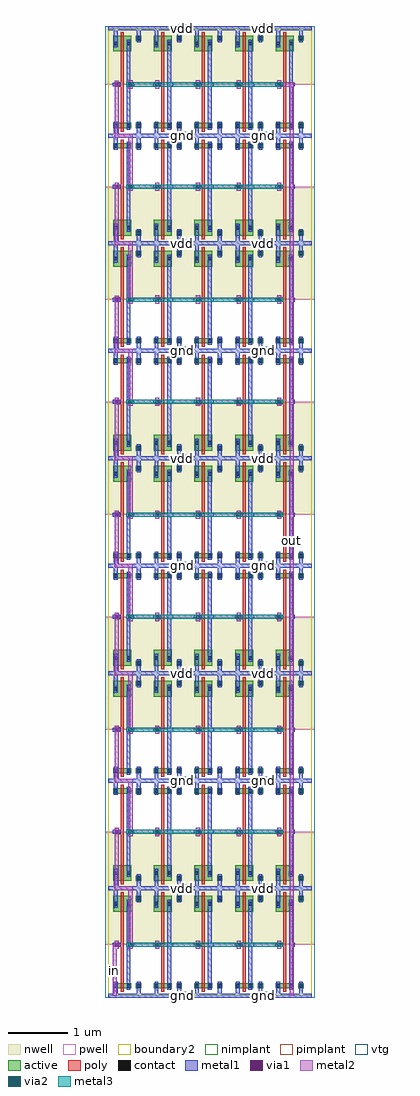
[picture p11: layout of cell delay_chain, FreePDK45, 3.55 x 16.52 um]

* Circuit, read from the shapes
.subckt delay_chain gnd in out vdd
M1 pinv_16_124/A in gnd gnd nfet w=0.09u l=0.05u
M2 pinv_16_117/A pinv_16_124/A gnd gnd nfet w=0.09u l=0.05u
M3 pinv_16_119/A pinv_16_117/A gnd gnd nfet w=0.09u l=0.05u
M4 pinv_16_0/A pinv_16_119/A gnd gnd nfet w=0.09u l=0.05u
M5 pinv_16_1/A pinv_16_0/A gnd gnd nfet w=0.09u l=0.05u
M6 pinv_16_107/A pinv_16_1/A gnd gnd nfet w=0.09u l=0.05u
M7 pinv_16_20/A pinv_16_107/A gnd gnd nfet w=0.09u l=0.05u
M8 pinv_16_16/A pinv_16_20/A gnd gnd nfet w=0.09u l=0.05u
M9 out pinv_16_16/A gnd gnd nfet w=0.09u l=0.05u
M10 pinv_16_189/Z pinv_16_124/A gnd gnd nfet w=0.09u l=0.05u
M11 pinv_16_176/Z pinv_16_117/A gnd gnd nfet w=0.09u l=0.05u
M12 pinv_16_119/Z pinv_16_119/A gnd gnd nfet w=0.09u l=0.05u
M13 pinv_16_162/Z pinv_16_0/A gnd gnd nfet w=0.09u l=0.05u
M14 pinv_16_1/Z pinv_16_1/A gnd gnd nfet w=0.09u l=0.05u
M15 pinv_16_88/Z pinv_16_107/A gnd gnd nfet w=0.09u l=0.05u
M16 pinv_16_20/Z pinv_16_20/A gnd gnd nfet w=0.09u l=0.05u
M17 pinv_16_56/Z pinv_16_16/A gnd gnd nfet w=0.09u l=0.05u
M18 pinv_16_60/Z out gnd gnd nfet w=0.09u l=0.05u
M19 pinv_16_124/Z pinv_16_124/A gnd gnd nfet w=0.09u l=0.05u
M20 pinv_16_117/Z pinv_16_117/A gnd gnd nfet w=0.09u l=0.05u
M21 pinv_16_120/Z pinv_16_119/A gnd gnd nfet w=0.09u l=0.05u
M22 pinv_16_123/Z pinv_16_0/A gnd gnd nfet w=0.09u l=0.05u
M23 pinv_16_2/Z pinv_16_1/A gnd gnd nfet w=0.09u l=0.05u
M24 pinv_16_18/Z pinv_16_107/A gnd gnd nfet w=0.09u l=0.05u
M25 pinv_16_21/Z pinv_16_20/A gnd gnd nfet w=0.09u l=0.05u
M26 pinv_16_16/Z pinv_16_16/A gnd gnd nfet w=0.09u l=0.05u
M27 pinv_16_17/Z out gnd gnd nfet w=0.09u l=0.05u
M28 pinv_16_207/Z pinv_16_124/A gnd gnd nfet w=0.09u l=0.05u
M29 pinv_16_210/Z pinv_16_117/A gnd gnd nfet w=0.09u l=0.05u
M30 pinv_16_121/Z pinv_16_119/A gnd gnd nfet w=0.09u l=0.05u
M31 pinv_16_140/Z pinv_16_0/A gnd gnd nfet w=0.09u l=0.05u
M32 pinv_16_3/Z pinv_16_1/A gnd gnd nfet w=0.09u l=0.05u
M33 pinv_16_114/Z pinv_16_107/A gnd gnd nfet w=0.09u l=0.05u
M34 pinv_16_22/Z pinv_16_20/A gnd gnd nfet w=0.09u l=0.05u
M35 pinv_16_27/Z pinv_16_16/A gnd gnd nfet w=0.09u l=0.05u
M36 pinv_16_24/Z out gnd gnd nfet w=0.09u l=0.05u
M37 pinv_16_208/Z pinv_16_124/A gnd gnd nfet w=0.09u l=0.05u
M38 pinv_16_211/Z pinv_16_117/A gnd gnd nfet w=0.09u l=0.05u
M39 pinv_16_122/Z pinv_16_119/A gnd gnd nfet w=0.09u l=0.05u
M40 pinv_16_141/Z pinv_16_0/A gnd gnd nfet w=0.09u l=0.05u
M41 pinv_16_4/Z pinv_16_1/A gnd gnd nfet w=0.09u l=0.05u
M42 pinv_16_107/Z pinv_16_107/A gnd gnd nfet w=0.09u l=0.05u
M43 pinv_16_23/Z pinv_16_20/A gnd gnd nfet w=0.09u l=0.05u
M44 pinv_16_26/Z pinv_16_16/A gnd gnd nfet w=0.09u l=0.05u
M45 pinv_16_25/Z out gnd gnd nfet w=0.09u l=0.05u
M46 pinv_16_124/A in vdd vdd pfet w=0.27u l=0.05u
M47 pinv_16_117/A pinv_16_124/A vdd vdd pfet w=0.27u l=0.05u
M48 pinv_16_119/A pinv_16_117/A vdd vdd pfet w=0.27u l=0.05u
M49 pinv_16_0/A pinv_16_119/A vdd vdd pfet w=0.27u l=0.05u
M50 pinv_16_1/A pinv_16_0/A vdd vdd pfet w=0.27u l=0.05u
M51 pinv_16_107/A pinv_16_1/A vdd vdd pfet w=0.27u l=0.05u
M52 pinv_16_20/A pinv_16_107/A vdd vdd pfet w=0.27u l=0.05u
M53 pinv_16_16/A pinv_16_20/A vdd vdd pfet w=0.27u l=0.05u
M54 out pinv_16_16/A vdd vdd pfet w=0.27u l=0.05u
M55 pinv_16_189/Z pinv_16_124/A vdd vdd pfet w=0.27u l=0.05u
M56 pinv_16_176/Z pinv_16_117/A vdd vdd pfet w=0.27u l=0.05u
M57 pinv_16_119/Z pinv_16_119/A vdd vdd pfet w=0.27u l=0.05u
M58 pinv_16_162/Z pinv_16_0/A vdd vdd pfet w=0.27u l=0.05u
M59 pinv_16_1/Z pinv_16_1/A vdd vdd pfet w=0.27u l=0.05u
M60 pinv_16_88/Z pinv_16_107/A vdd vdd pfet w=0.27u l=0.05u
M61 pinv_16_20/Z pinv_16_20/A vdd vdd pfet w=0.27u l=0.05u
M62 pinv_16_56/Z pinv_16_16/A vdd vdd pfet w=0.27u l=0.05u
M63 pinv_16_60/Z out vdd vdd pfet w=0.27u l=0.05u
M64 pinv_16_124/Z pinv_16_124/A vdd vdd pfet w=0.27u l=0.05u
M65 pinv_16_117/Z pinv_16_117/A vdd vdd pfet w=0.27u l=0.05u
M66 pinv_16_120/Z pinv_16_119/A vdd vdd pfet w=0.27u l=0.05u
M67 pinv_16_123/Z pinv_16_0/A vdd vdd pfet w=0.27u l=0.05u
M68 pinv_16_2/Z pinv_16_1/A vdd vdd pfet w=0.27u l=0.05u
M69 pinv_16_18/Z pinv_16_107/A vdd vdd pfet w=0.27u l=0.05u
M70 pinv_16_21/Z pinv_16_20/A vdd vdd pfet w=0.27u l=0.05u
M71 pinv_16_16/Z pinv_16_16/A vdd vdd pfet w=0.27u l=0.05u
M72 pinv_16_17/Z out vdd vdd pfet w=0.27u l=0.05u
M73 pinv_16_207/Z pinv_16_124/A vdd vdd pfet w=0.27u l=0.05u
M74 pinv_16_210/Z pinv_16_117/A vdd vdd pfet w=0.27u l=0.05u
M75 pinv_16_121/Z pinv_16_119/A vdd vdd pfet w=0.27u l=0.05u
M76 pinv_16_140/Z pinv_16_0/A vdd vdd pfet w=0.27u l=0.05u
M77 pinv_16_3/Z pinv_16_1/A vdd vdd pfet w=0.27u l=0.05u
M78 pinv_16_114/Z pinv_16_107/A vdd vdd pfet w=0.27u l=0.05u
M79 pinv_16_22/Z pinv_16_20/A vdd vdd pfet w=0.27u l=0.05u
M80 pinv_16_27/Z pinv_16_16/A vdd vdd pfet w=0.27u l=0.05u
M81 pinv_16_24/Z out vdd vdd pfet w=0.27u l=0.05u
M82 pinv_16_208/Z pinv_16_124/A vdd vdd pfet w=0.27u l=0.05u
M83 pinv_16_211/Z pinv_16_117/A vdd vdd pfet w=0.27u l=0.05u
M84 pinv_16_122/Z pinv_16_119/A vdd vdd pfet w=0.27u l=0.05u
M85 pinv_16_141/Z pinv_16_0/A vdd vdd pfet w=0.27u l=0.05u
M86 pinv_16_4/Z pinv_16_1/A vdd vdd pfet w=0.27u l=0.05u
M87 pinv_16_107/Z pinv_16_107/A vdd vdd pfet w=0.27u l=0.05u
M88 pinv_16_23/Z pinv_16_20/A vdd vdd pfet w=0.27u l=0.05u
M89 pinv_16_26/Z pinv_16_16/A vdd vdd pfet w=0.27u l=0.05u
M90 pinv_16_25/Z out vdd vdd pfet w=0.27u l=0.05u
.ends

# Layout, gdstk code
import gdstk
lib = gdstk.Library(unit=1e-6, precision=5e-10)
def R(c, l, rs):  # rectangles x0, y0, x1, y1
    for r in rs: c.add(gdstk.rectangle(r[:2], r[2:], *l))
def A(c, l, x, y, w, h, nx, ny, dx, dy):  # array of equal rectangles
    R(c, l, [(x+i*dx, y+j*dy, x+i*dx+w, y+j*dy+h) for i in range(nx) for j in range(ny)])
active = (1, 0)
pwell = (2, 0)
nwell = (3, 0)
nimplant = (4, 0)
pimplant = (5, 0)
vtg = (6, 0)
poly = (9, 0)
contact = (10, 0)
metal1 = (11, 0)
via1 = (12, 0)
metal2 = (13, 0)
via2 = (14, 0)
metal3 = (15, 0)
boundary2 = (239, 0)

contact_10 = lib.new_cell('contact_10')
R(contact_10, active, [(0,0.0225,0.09,0.1125)])
R(contact_10, nwell, [(-0.055,-0.0325,0.145,0.1675)])
R(contact_10, pimplant, [(0,0.0225,0.09,0.1125)])
R(contact_10, contact, [(0.0125,0.035,0.0775,0.1)])
R(contact_10, metal1, [(0.0125,0,0.0775,0.135)])
R(contact_10, boundary2, [(-0.055,-0.0325,0.145,0.1675)])

pmos_m1_w0_270_sm1_dm1_d = lib.new_cell('pmos_m1_w0_270_sm1_dm1_da_p')
R(pmos_m1_w0_270_sm1_dm1_d, active, [(0,0,0.305,0.27)])
R(pmos_m1_w0_270_sm1_dm1_d, nwell, [(-0.08,-0.08,0.385,0.35)])
R(pmos_m1_w0_270_sm1_dm1_d, pimplant, [(0,0,0.305,0.27)])
R(pmos_m1_w0_270_sm1_dm1_d, vtg, [(-0.08,-0.08,0.385,0.35)])
R(pmos_m1_w0_270_sm1_dm1_d, poly, [(0.1275,-0.055,0.1775,0.325), (0.1275,-0.055,0.1775,0.325)])
R(pmos_m1_w0_270_sm1_dm1_d, metal1, [(0.0125,0.0675,0.0775,0.2025), (0.2275,0.0675,0.2925,0.2025)])
R(pmos_m1_w0_270_sm1_dm1_d, boundary2, [(-0.08,-0.08,0.385,0.35)])
pmos_m1_w0_270_sm1_dm1_d.add(gdstk.Reference(contact_10, (0,0.0675)))
pmos_m1_w0_270_sm1_dm1_d.add(gdstk.Reference(contact_10, (0.215,0.0675)))
pmos_m1_w0_270_sm1_dm1_d.add(gdstk.Label('S', (0.045,0.135), layer=11, texttype=0))
pmos_m1_w0_270_sm1_dm1_d.add(gdstk.Label('D', (0.26,0.135), layer=11, texttype=0))
pmos_m1_w0_270_sm1_dm1_d.add(gdstk.Label('G', (0.1525,0.135), layer=9, texttype=0))

contact_9 = lib.new_cell('contact_9')
R(contact_9, active, [(0,0.0225,0.09,0.1125)])
R(contact_9, pwell, [(-0.055,-0.0325,0.145,0.1675)])
R(contact_9, nimplant, [(0,0.0225,0.09,0.1125)])
R(contact_9, contact, [(0.0125,0.035,0.0775,0.1)])
R(contact_9, metal1, [(0.0125,0,0.0775,0.135)])
R(contact_9, boundary2, [(-0.055,-0.0325,0.145,0.1675)])

nmos_m1_w0_090_sm1_dm1_d = lib.new_cell('nmos_m1_w0_090_sm1_dm1_da_p')
R(nmos_m1_w0_090_sm1_dm1_d, active, [(0,0,0.305,0.09)])
R(nmos_m1_w0_090_sm1_dm1_d, pwell, [(-0.08,-0.08,0.385,0.17)])
R(nmos_m1_w0_090_sm1_dm1_d, nimplant, [(0,0,0.305,0.09)])
R(nmos_m1_w0_090_sm1_dm1_d, vtg, [(-0.08,-0.08,0.385,0.17)])
R(nmos_m1_w0_090_sm1_dm1_d, poly, [(0.1275,-0.055,0.1775,0.145), (0.1275,-0.055,0.1775,0.145)])
R(nmos_m1_w0_090_sm1_dm1_d, metal1, [(0.0125,-0.0225,0.0775,0.1125), (0.2275,-0.0225,0.2925,0.1125)])
R(nmos_m1_w0_090_sm1_dm1_d, boundary2, [(-0.08,-0.08,0.385,0.17)])
nmos_m1_w0_090_sm1_dm1_d.add(gdstk.Reference(contact_9, (0,-0.0225)))
nmos_m1_w0_090_sm1_dm1_d.add(gdstk.Reference(contact_9, (0.215,-0.0225)))
nmos_m1_w0_090_sm1_dm1_d.add(gdstk.Label('S', (0.045,0.045), layer=11, texttype=0))
nmos_m1_w0_090_sm1_dm1_d.add(gdstk.Label('D', (0.26,0.045), layer=11, texttype=0))
nmos_m1_w0_090_sm1_dm1_d.add(gdstk.Label('G', (0.1525,0.045), layer=9, texttype=0))

contact_11 = lib.new_cell('contact_11')
R(contact_11, active, [(0,0.0225,0.09,0.1125)])
R(contact_11, nwell, [(-0.055,-0.0325,0.145,0.1675)])
R(contact_11, nimplant, [(0,0.0225,0.09,0.1125)])
R(contact_11, contact, [(0.0125,0.035,0.0775,0.1)])
R(contact_11, metal1, [(0.0125,0,0.0775,0.135)])
R(contact_11, boundary2, [(-0.055,-0.0325,0.145,0.1675)])

contact_12 = lib.new_cell('contact_12')
R(contact_12, active, [(0,0.0225,0.09,0.1125)])
R(contact_12, pwell, [(-0.055,-0.0325,0.145,0.1675)])
R(contact_12, pimplant, [(0,0.0225,0.09,0.1125)])
R(contact_12, contact, [(0.0125,0.035,0.0775,0.1)])
R(contact_12, metal1, [(0.0125,0,0.0775,0.135)])
R(contact_12, boundary2, [(-0.055,-0.0325,0.145,0.1675)])

contact_13 = lib.new_cell('contact_13')
R(contact_13, poly, [(0.03,0,0.105,0.075)])
R(contact_13, contact, [(0.035,0.005,0.1,0.07)])
R(contact_13, metal1, [(0,0.005,0.135,0.07)])
R(contact_13, boundary2, [(0,0,0.135,0.075)])

pinv_16 = lib.new_cell('pinv_16')
R(pinv_16, pwell, [(-0.055,-0.0325,0.7425,0.8725)])
R(pinv_16, nwell, [(-0.055,0.8725,0.7425,1.855)])
R(pinv_16, vtg, [(-0.055,-0.0325,0.7425,0.8725), (-0.055,0.8725,0.7425,1.855)])
R(pinv_16, poly, [(0.2075,0.27,0.2575,1.37), (0.14,0.8275,0.2075,0.9025)])
R(pinv_16, metal1, [(0,-0.0325,0.6875,0.0325), (0.0925,-0.0325,0.1575,0.1025), (0.4775,0,0.5425,0.17), (0.3075,0.1025,0.3725,1.6275), (0.0725,0.8325,0.2075,0.8975), (0.34,0.8325,0.405,0.8975), (0.0925,1.4925,0.1575,1.8525), (0.4775,1.65,0.5425,1.82), (0,1.7875,0.6875,1.8525)])
R(pinv_16, boundary2, [(0,0,0.6875,1.82), (0,0,0.6875,1.82)])
pinv_16.add(gdstk.Reference(pmos_m1_w0_270_sm1_dm1_d, (0.08,1.425)))
pinv_16.add(gdstk.Reference(nmos_m1_w0_090_sm1_dm1_d, (0.08,0.125)))
pinv_16.add(gdstk.Reference(contact_11, (0.465,1.5825)))
pinv_16.add(gdstk.Reference(contact_12, (0.465,0.1025)))
pinv_16.add(gdstk.Reference(contact_13, (0.0725,0.8275)))
pinv_16.add(gdstk.Label('A', (0.14,0.865), layer=11, texttype=0))
pinv_16.add(gdstk.Label('Z', (0.3725,0.865), layer=11, texttype=0))
pinv_16.add(gdstk.Label('gnd', (0.344,0), layer=11, texttype=0))
pinv_16.add(gdstk.Label('vdd', (0.344,1.82), layer=11, texttype=0))

contact_6 = lib.new_cell('contact_6')
R(contact_6, metal1, [(0,0.035,0.135,0.1)])
R(contact_6, via1, [(0.035,0.035,0.1,0.1)])
R(contact_6, metal2, [(0.0325,0,0.1025,0.135)])
R(contact_6, boundary2, [(0,0,0.135,0.135)])

contact_7 = lib.new_cell('contact_7')
R(contact_7, metal2, [(0.035,0,0.105,0.14)])
R(contact_7, via2, [(0.035,0.035,0.105,0.105)])
R(contact_7, metal3, [(0,0.035,0.14,0.105)])
R(contact_7, boundary2, [(0,0,0.14,0.14)])

delay_chain = lib.new_cell('delay_chain')
A(delay_chain, metal2, 0.3375, 0.865, 0.07, 0.955, 1, 4, 0, 3.64)
A(delay_chain, metal2, 0.105, 1.785, 0.07, 0.07, 1, 8, 0, 1.82)
A(delay_chain, metal2, 0.14, 1.785, 0.2325, 0.07, 1, 8, 0, 1.82)
A(delay_chain, metal2, 0.3375, 1.785, 0.07, 0.07, 1, 8, 0, 1.82)
A(delay_chain, metal2, 0.105, 1.82, 0.07, 0.955, 1, 4, 0, 3.64)
A(delay_chain, metal2, 0.3375, 2.775, 0.07, 0.865, 1, 4, 0, 3.64)
A(delay_chain, metal2, 0.105, 3.64, 0.07, 0.865, 1, 4, 0, 3.64)
R(delay_chain, metal2, [(0.0725,0,0.1425,0.865), (3.065,0,3.135,15.425), (3.065,0,3.135,15.425), (2.89,15.39,3.1,15.46), (3.065,15.39,3.135,15.46)])
A(delay_chain, metal3, 1.175, -0.07, 0.14, 0.14, 1, 6, 0, 1.82)
A(delay_chain, metal3, 2.55, -0.07, 0.14, 0.14, 1, 6, 0, 1.82)
A(delay_chain, metal3, 1.175, 9.03, 0.14, 0.14, 1, 5, 0, 1.82)
A(delay_chain, metal3, 2.55, 9.03, 0.14, 0.14, 1, 5, 0, 1.82)
R(delay_chain, metal3, [(0.3725,0.83,2.89,0.9), (0.3725,2.74,2.89,2.81), (0.3725,4.47,2.89,4.54), (0.3725,6.38,2.89,6.45), (0.3725,8.11,2.89,8.18), (0.3725,10.02,2.89,10.09), (0.3725,11.75,2.89,11.82), (0.3725,13.66,2.89,13.73), (0.3725,15.39,2.89,15.46)])
R(delay_chain, boundary2, [(0,0,3.4375,16.38)])
delay_chain.add(gdstk.Reference(pinv_16, (0,7.28)))
delay_chain.add(gdstk.Reference(pinv_16, (0.6875,7.28)))
delay_chain.add(gdstk.Reference(pinv_16, (1.375,7.28)))
delay_chain.add(gdstk.Reference(pinv_16, (2.0625,7.28)))
delay_chain.add(gdstk.Reference(pinv_16, (2.75,7.28)))
delay_chain.add(gdstk.Reference(contact_6, (0.76,8.0775)))
delay_chain.add(gdstk.Reference(contact_7, (0.7575,8.075)))
delay_chain.add(gdstk.Reference(contact_6, (1.4475,8.0775)))
delay_chain.add(gdstk.Reference(contact_7, (1.445,8.075)))
delay_chain.add(gdstk.Reference(contact_6, (2.135,8.0775)))
delay_chain.add(gdstk.Reference(contact_7, (2.1325,8.075)))
delay_chain.add(gdstk.Reference(contact_6, (2.8225,8.0775)))
delay_chain.add(gdstk.Reference(contact_7, (2.82,8.075)))
delay_chain.add(gdstk.Reference(contact_6, (0.0725,8.0775)))
delay_chain.add(gdstk.Reference(contact_6, (0.305,8.0775)))
delay_chain.add(gdstk.Reference(contact_7, (0.3025,8.075)))
delay_chain.add(gdstk.Reference(pinv_16, (1.375,14.56), x_reflection=True))
delay_chain.add(gdstk.Reference(pinv_16, (1.375,14.56)))
delay_chain.add(gdstk.Reference(pinv_16, (1.375,10.92), x_reflection=True))
delay_chain.add(gdstk.Reference(pinv_16, (0,10.92)))
delay_chain.add(gdstk.Reference(pinv_16, (0.6875,10.92)))
delay_chain.add(gdstk.Reference(pinv_16, (1.375,10.92)))
delay_chain.add(gdstk.Reference(pinv_16, (2.0625,10.92)))
delay_chain.add(gdstk.Reference(pinv_16, (2.75,10.92)))
delay_chain.add(gdstk.Reference(pinv_16, (2.0625,14.56)))
delay_chain.add(gdstk.Reference(pinv_16, (2.75,14.56)))
delay_chain.add(gdstk.Reference(pinv_16, (2.75,14.56), x_reflection=True))
delay_chain.add(gdstk.Reference(pinv_16, (2.0625,14.56), x_reflection=True))
delay_chain.add(gdstk.Reference(contact_6, (2.135,13.6275)))
delay_chain.add(gdstk.Reference(contact_7, (2.1325,13.625)))
delay_chain.add(gdstk.Reference(contact_6, (2.8225,13.6275)))
delay_chain.add(gdstk.Reference(contact_7, (2.82,13.625)))
delay_chain.add(gdstk.Reference(contact_6, (2.135,15.3575)))
delay_chain.add(gdstk.Reference(contact_7, (2.1325,15.355)))
delay_chain.add(gdstk.Reference(contact_6, (2.8225,15.3575)))
delay_chain.add(gdstk.Reference(contact_7, (2.82,15.355)))
delay_chain.add(gdstk.Reference(contact_6, (2.5525,12.6725)))
delay_chain.add(gdstk.Reference(contact_7, (2.55,12.67)))
delay_chain.add(gdstk.Reference(contact_6, (2.5525,12.6725)))
delay_chain.add(gdstk.Reference(contact_7, (2.55,12.67)))
delay_chain.add(gdstk.Reference(contact_6, (2.5525,14.4925)))
delay_chain.add(gdstk.Reference(contact_7, (2.55,14.49)))
delay_chain.add(gdstk.Reference(contact_6, (2.5525,16.3125)))
delay_chain.add(gdstk.Reference(contact_7, (2.55,16.31)))
delay_chain.add(gdstk.Reference(contact_6, (2.5525,14.4925)))
delay_chain.add(gdstk.Reference(contact_7, (2.55,14.49)))
delay_chain.add(gdstk.Reference(contact_6, (2.8225,15.3575)))
delay_chain.add(gdstk.Reference(contact_6, (0.76,13.6275)))
delay_chain.add(gdstk.Reference(contact_7, (0.7575,13.625)))
delay_chain.add(gdstk.Reference(contact_6, (1.4475,13.6275)))
delay_chain.add(gdstk.Reference(contact_7, (1.445,13.625)))
delay_chain.add(gdstk.Reference(contact_6, (0.0725,15.3575)))
delay_chain.add(gdstk.Reference(contact_6, (0.305,15.3575)))
delay_chain.add(gdstk.Reference(contact_7, (0.3025,15.355)))
delay_chain.add(gdstk.Reference(contact_6, (1.1775,12.6725)))
delay_chain.add(gdstk.Reference(contact_7, (1.175,12.67)))
delay_chain.add(gdstk.Reference(pinv_16, (0.6875,14.56), x_reflection=True))
delay_chain.add(gdstk.Reference(pinv_16, (0,14.56)))
delay_chain.add(gdstk.Reference(contact_6, (1.1775,12.6725)))
delay_chain.add(gdstk.Reference(contact_7, (1.175,12.67)))
delay_chain.add(gdstk.Reference(pinv_16, (0.6875,14.56)))
delay_chain.add(gdstk.Reference(pinv_16, (0,14.56), x_reflection=True))
delay_chain.add(gdstk.Reference(contact_6, (1.1775,14.4925)))
delay_chain.add(gdstk.Reference(contact_7, (1.175,14.49)))
delay_chain.add(gdstk.Reference(contact_6, (0.0725,13.6275)))
delay_chain.add(gdstk.Reference(contact_6, (0.305,13.6275)))
delay_chain.add(gdstk.Reference(contact_6, (1.1775,16.3125)))
delay_chain.add(gdstk.Reference(contact_7, (1.175,16.31)))
delay_chain.add(gdstk.Reference(contact_7, (0.3025,13.625)))
delay_chain.add(gdstk.Reference(contact_6, (0.76,15.3575)))
delay_chain.add(gdstk.Reference(contact_6, (1.1775,14.4925)))
delay_chain.add(gdstk.Reference(contact_7, (1.175,14.49)))
delay_chain.add(gdstk.Reference(contact_7, (0.7575,15.355)))
delay_chain.add(gdstk.Reference(contact_6, (1.4475,15.3575)))
delay_chain.add(gdstk.Reference(contact_7, (1.445,15.355)))
delay_chain.add(gdstk.Reference(contact_7, (1.175,10.85)))
delay_chain.add(gdstk.Reference(contact_6, (0.0725,9.9875)))
delay_chain.add(gdstk.Reference(contact_6, (0.305,9.9875)))
delay_chain.add(gdstk.Reference(contact_7, (0.3025,9.985)))
delay_chain.add(gdstk.Reference(contact_6, (0.76,11.7175)))
delay_chain.add(gdstk.Reference(contact_6, (1.1775,10.8525)))
delay_chain.add(gdstk.Reference(contact_7, (1.175,10.85)))
delay_chain.add(gdstk.Reference(contact_7, (0.7575,11.715)))
delay_chain.add(gdstk.Reference(contact_6, (1.4475,11.7175)))
delay_chain.add(gdstk.Reference(contact_7, (1.445,11.715)))
delay_chain.add(gdstk.Reference(contact_6, (0.0725,11.7175)))
delay_chain.add(gdstk.Reference(contact_6, (0.305,11.7175)))
delay_chain.add(gdstk.Reference(contact_7, (0.3025,11.715)))
delay_chain.add(gdstk.Reference(pinv_16, (0.6875,10.92), x_reflection=True))
delay_chain.add(gdstk.Reference(pinv_16, (0,10.92), x_reflection=True))
delay_chain.add(gdstk.Reference(contact_6, (0.76,9.9875)))
delay_chain.add(gdstk.Reference(contact_7, (0.7575,9.985)))
delay_chain.add(gdstk.Reference(contact_6, (1.4475,9.9875)))
delay_chain.add(gdstk.Reference(contact_7, (1.445,9.985)))
delay_chain.add(gdstk.Reference(contact_6, (1.1775,9.0325)))
delay_chain.add(gdstk.Reference(contact_7, (1.175,9.03)))
delay_chain.add(gdstk.Reference(contact_6, (1.1775,9.0325)))
delay_chain.add(gdstk.Reference(contact_7, (1.175,9.03)))
delay_chain.add(gdstk.Reference(contact_6, (1.1775,10.8525)))
delay_chain.add(gdstk.Reference(contact_7, (2.55,10.85)))
delay_chain.add(gdstk.Reference(contact_6, (2.5525,9.0325)))
delay_chain.add(gdstk.Reference(contact_7, (2.55,9.03)))
delay_chain.add(gdstk.Reference(contact_7, (2.1325,11.715)))
delay_chain.add(gdstk.Reference(contact_6, (2.8225,11.7175)))
delay_chain.add(gdstk.Reference(contact_6, (2.5525,9.0325)))
delay_chain.add(gdstk.Reference(contact_7, (2.55,9.03)))
delay_chain.add(gdstk.Reference(contact_7, (2.82,11.715)))
delay_chain.add(gdstk.Reference(pinv_16, (2.75,10.92), x_reflection=True))
delay_chain.add(gdstk.Reference(contact_6, (2.5525,10.8525)))
delay_chain.add(gdstk.Reference(contact_7, (2.55,10.85)))
delay_chain.add(gdstk.Reference(contact_6, (2.135,9.9875)))
delay_chain.add(gdstk.Reference(contact_7, (2.1325,9.985)))
delay_chain.add(gdstk.Reference(contact_6, (2.8225,9.9875)))
delay_chain.add(gdstk.Reference(contact_7, (2.82,9.985)))
delay_chain.add(gdstk.Reference(pinv_16, (2.0625,10.92), x_reflection=True))
delay_chain.add(gdstk.Reference(contact_6, (2.135,11.7175)))
delay_chain.add(gdstk.Reference(contact_6, (2.5525,10.8525)))
delay_chain.add(gdstk.Reference(pinv_16, (1.375,3.64), x_reflection=True))
delay_chain.add(gdstk.Reference(pinv_16, (0,3.64)))
delay_chain.add(gdstk.Reference(pinv_16, (0.6875,3.64)))
delay_chain.add(gdstk.Reference(pinv_16, (1.375,3.64)))
delay_chain.add(gdstk.Reference(pinv_16, (2.0625,3.64)))
delay_chain.add(gdstk.Reference(pinv_16, (2.75,3.64)))
delay_chain.add(gdstk.Reference(pinv_16, (1.375,7.28), x_reflection=True))
delay_chain.add(gdstk.Reference(pinv_16, (1.375,0)))
delay_chain.add(gdstk.Reference(contact_6, (2.5525,7.2125)))
delay_chain.add(gdstk.Reference(contact_7, (2.55,7.21)))
delay_chain.add(gdstk.Reference(contact_6, (2.135,6.3475)))
delay_chain.add(gdstk.Reference(contact_7, (2.1325,6.345)))
delay_chain.add(gdstk.Reference(contact_6, (2.5525,7.2125)))
delay_chain.add(gdstk.Reference(contact_7, (2.55,7.21)))
delay_chain.add(gdstk.Reference(contact_6, (2.8225,6.3475)))
delay_chain.add(gdstk.Reference(contact_7, (2.82,6.345)))
delay_chain.add(gdstk.Reference(contact_6, (2.135,4.4375)))
delay_chain.add(gdstk.Reference(contact_7, (2.1325,4.435)))
delay_chain.add(gdstk.Reference(contact_6, (2.8225,4.4375)))
delay_chain.add(gdstk.Reference(contact_7, (2.82,4.435)))
delay_chain.add(gdstk.Reference(contact_6, (2.5525,5.3925)))
delay_chain.add(gdstk.Reference(contact_7, (2.55,5.39)))
delay_chain.add(gdstk.Reference(contact_6, (2.5525,5.3925)))
delay_chain.add(gdstk.Reference(pinv_16, (2.0625,7.28), x_reflection=True))
delay_chain.add(gdstk.Reference(pinv_16, (2.75,7.28), x_reflection=True))
delay_chain.add(gdstk.Reference(contact_7, (2.55,5.39)))
delay_chain.add(gdstk.Reference(contact_7, (1.445,6.345)))
delay_chain.add(gdstk.Reference(contact_7, (0.3025,4.435)))
delay_chain.add(gdstk.Reference(contact_6, (0.76,6.3475)))
delay_chain.add(gdstk.Reference(contact_6, (1.1775,7.2125)))
delay_chain.add(gdstk.Reference(contact_7, (1.175,7.21)))
delay_chain.add(gdstk.Reference(contact_7, (0.7575,6.345)))
delay_chain.add(gdstk.Reference(contact_6, (1.1775,5.3925)))
delay_chain.add(gdstk.Reference(contact_7, (1.175,5.39)))
delay_chain.add(gdstk.Reference(contact_6, (0.76,4.4375)))
delay_chain.add(gdstk.Reference(contact_6, (0.0725,6.3475)))
delay_chain.add(gdstk.Reference(contact_6, (0.305,6.3475)))
delay_chain.add(gdstk.Reference(contact_7, (0.3025,6.345)))
delay_chain.add(gdstk.Reference(contact_7, (0.7575,4.435)))
delay_chain.add(gdstk.Reference(contact_6, (1.1775,5.3925)))
delay_chain.add(gdstk.Reference(contact_7, (1.175,5.39)))
delay_chain.add(gdstk.Reference(contact_6, (1.4475,4.4375)))
delay_chain.add(gdstk.Reference(contact_7, (1.445,4.435)))
delay_chain.add(gdstk.Reference(contact_6, (1.1775,7.2125)))
delay_chain.add(gdstk.Reference(pinv_16, (0,7.28), x_reflection=True))
delay_chain.add(gdstk.Reference(pinv_16, (0.6875,7.28), x_reflection=True))
delay_chain.add(gdstk.Reference(contact_7, (1.175,7.21)))
delay_chain.add(gdstk.Reference(contact_6, (0.0725,4.4375)))
delay_chain.add(gdstk.Reference(contact_6, (0.305,4.4375)))
delay_chain.add(gdstk.Reference(contact_6, (1.4475,6.3475)))
delay_chain.add(gdstk.Reference(contact_7, (1.175,3.57)))
delay_chain.add(gdstk.Reference(contact_6, (0.76,2.7075)))
delay_chain.add(gdstk.Reference(contact_7, (0.7575,2.705)))
delay_chain.add(gdstk.Reference(contact_6, (1.4475,2.7075)))
delay_chain.add(gdstk.Reference(contact_7, (1.445,2.705)))
delay_chain.add(gdstk.Reference(contact_6, (1.1775,3.5725)))
delay_chain.add(gdstk.Reference(contact_7, (1.175,3.57)))
delay_chain.add(gdstk.Reference(contact_6, (0.0725,2.7075)))
delay_chain.add(gdstk.Reference(pinv_16, (0,3.64), x_reflection=True))
delay_chain.add(gdstk.Reference(pinv_16, (0.6875,3.64), x_reflection=True))
delay_chain.add(gdstk.Reference(contact_6, (0.305,2.7075)))
delay_chain.add(gdstk.Reference(contact_7, (0.3025,2.705)))
delay_chain.add(gdstk.Reference(contact_6, (0.0725,0.7975)))
delay_chain.add(gdstk.Reference(contact_6, (0.305,0.7975)))
delay_chain.add(gdstk.Reference(contact_7, (0.3025,0.795)))
delay_chain.add(gdstk.Reference(contact_6, (1.1775,1.7525)))
delay_chain.add(gdstk.Reference(contact_7, (1.175,1.75)))
delay_chain.add(gdstk.Reference(contact_6, (1.1775,-0.0675)))
delay_chain.add(gdstk.Reference(contact_7, (1.175,-0.07)))
delay_chain.add(gdstk.Reference(contact_6, (1.1775,1.7525)))
delay_chain.add(gdstk.Reference(contact_7, (1.175,1.75)))
delay_chain.add(gdstk.Reference(pinv_16, (0,0)))
delay_chain.add(gdstk.Reference(pinv_16, (0.6875,0)))
delay_chain.add(gdstk.Reference(contact_6, (1.1775,3.5725)))
delay_chain.add(gdstk.Reference(contact_6, (0.76,0.7975)))
delay_chain.add(gdstk.Reference(contact_7, (0.7575,0.795)))
delay_chain.add(gdstk.Reference(contact_6, (1.4475,0.7975)))
delay_chain.add(gdstk.Reference(contact_7, (1.445,0.795)))
delay_chain.add(gdstk.Reference(contact_6, (0.0725,0.7975)))
delay_chain.add(gdstk.Reference(contact_6, (2.5525,3.5725)))
delay_chain.add(gdstk.Reference(contact_7, (2.55,3.57)))
delay_chain.add(gdstk.Reference(contact_6, (2.5525,1.7525)))
delay_chain.add(gdstk.Reference(contact_7, (2.55,1.75)))
delay_chain.add(gdstk.Reference(contact_6, (2.5525,1.7525)))
delay_chain.add(gdstk.Reference(contact_7, (2.55,1.75)))
delay_chain.add(gdstk.Reference(contact_6, (2.5525,3.5725)))
delay_chain.add(gdstk.Reference(contact_7, (2.55,3.57)))
delay_chain.add(gdstk.Reference(contact_6, (2.8225,2.7075)))
delay_chain.add(gdstk.Reference(contact_7, (2.82,2.705)))
delay_chain.add(gdstk.Reference(contact_6, (2.5525,-0.0675)))
delay_chain.add(gdstk.Reference(pinv_16, (2.0625,0)))
delay_chain.add(gdstk.Reference(pinv_16, (2.75,0)))
delay_chain.add(gdstk.Reference(contact_7, (2.55,-0.07)))
delay_chain.add(gdstk.Reference(pinv_16, (2.0625,3.64), x_reflection=True))
delay_chain.add(gdstk.Reference(pinv_16, (2.75,3.64), x_reflection=True))
delay_chain.add(gdstk.Reference(contact_6, (2.135,2.7075)))
delay_chain.add(gdstk.Reference(contact_6, (2.135,0.7975)))
delay_chain.add(gdstk.Reference(contact_7, (2.1325,0.795)))
delay_chain.add(gdstk.Reference(contact_6, (2.8225,0.7975)))
delay_chain.add(gdstk.Reference(contact_7, (2.1325,2.705)))
delay_chain.add(gdstk.Reference(contact_7, (2.82,0.795)))
delay_chain.add(gdstk.Label('in', (0.1075,0.4325), layer=13, texttype=0))
delay_chain.add(gdstk.Label('out', (3.1,7.7125), layer=13, texttype=0))
delay_chain.add(gdstk.Label('vdd', (2.62,12.74), layer=15, texttype=0))
delay_chain.add(gdstk.Label('vdd', (2.62,1.82), layer=15, texttype=0))
delay_chain.add(gdstk.Label('vdd', (1.245,9.1), layer=15, texttype=0))
delay_chain.add(gdstk.Label('vdd', (1.245,16.38), layer=15, texttype=0))
delay_chain.add(gdstk.Label('vdd', (1.245,12.74), layer=15, texttype=0))
delay_chain.add(gdstk.Label('vdd', (2.62,5.46), layer=15, texttype=0))
delay_chain.add(gdstk.Label('vdd', (2.62,16.38), layer=15, texttype=0))
delay_chain.add(gdstk.Label('vdd', (1.245,9.1), layer=15, texttype=0))
delay_chain.add(gdstk.Label('vdd', (2.62,9.1), layer=15, texttype=0))
delay_chain.add(gdstk.Label('vdd', (2.62,9.1), layer=15, texttype=0))
delay_chain.add(gdstk.Label('vdd', (1.245,5.46), layer=15, texttype=0))
delay_chain.add(gdstk.Label('vdd', (1.245,1.82), layer=15, texttype=0))
delay_chain.add(gdstk.Label('gnd', (1.245,3.64), layer=15, texttype=0))
delay_chain.add(gdstk.Label('gnd', (2.62,10.92), layer=15, texttype=0))
delay_chain.add(gdstk.Label('gnd', (1.245,0), layer=15, texttype=0))
delay_chain.add(gdstk.Label('gnd', (2.62,0), layer=15, texttype=0))
delay_chain.add(gdstk.Label('gnd', (1.245,14.56), layer=15, texttype=0))
delay_chain.add(gdstk.Label('gnd', (2.62,3.64), layer=15, texttype=0))
delay_chain.add(gdstk.Label('gnd', (2.62,7.28), layer=15, texttype=0))
delay_chain.add(gdstk.Label('gnd', (2.62,14.56), layer=15, texttype=0))
delay_chain.add(gdstk.Label('gnd', (1.245,7.28), layer=15, texttype=0))
delay_chain.add(gdstk.Label('gnd', (1.245,10.92), layer=15, texttype=0))

lib.write_gds('delay_chain.gds')
